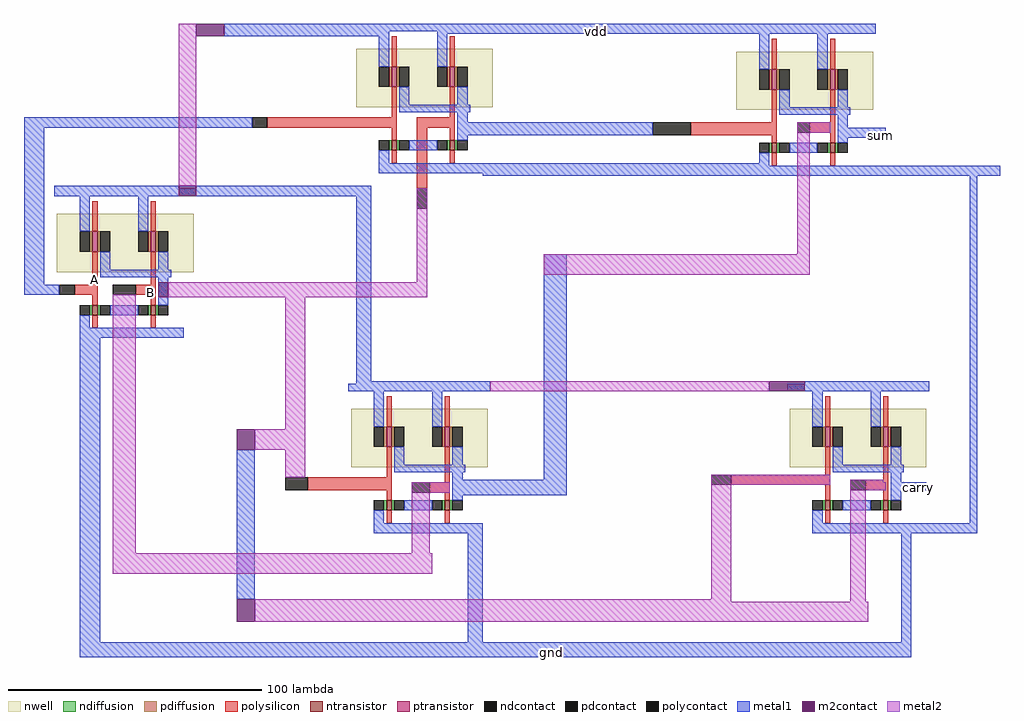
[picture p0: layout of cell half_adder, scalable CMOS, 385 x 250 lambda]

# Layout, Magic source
magic
tech scmos
<< polysilicon >>
rect 130 142 179 146
rect 189 142 203 146
rect 189 118 193 142
rect 297 139 329 144
rect 344 140 352 144
rect 54 76 63 80
rect 78 76 86 80
rect 146 -1 178 4
rect 194 -2 202 2
rect 313 1 352 5
rect 366 -1 373 3
<< metal1 >>
rect 113 180 164 183
rect 220 182 370 183
rect 220 180 314 182
rect 113 178 175 180
rect 200 179 314 180
rect 34 142 124 146
rect 34 80 42 142
rect 209 139 282 144
rect 357 138 374 142
rect 215 123 325 128
rect 364 123 419 127
rect 46 118 95 119
rect 102 115 171 119
rect 34 76 48 80
rect 56 -61 64 59
rect 165 42 171 115
rect 165 41 218 42
rect 165 40 171 41
rect 118 -44 125 15
rect 239 3 248 92
rect 342 41 391 42
rect 207 -3 248 3
rect 378 1 390 2
rect 379 0 390 1
rect 380 -1 390 0
rect 407 -14 410 123
rect 209 -61 215 -14
rect 380 -61 384 -15
rect 386 -18 410 -14
rect 56 -67 384 -61
<< metal2 >>
rect 95 119 102 183
rect 339 140 352 144
rect 189 81 193 118
rect 339 92 344 140
rect 239 84 344 92
rect 69 -26 78 76
rect 91 75 193 81
rect 137 23 145 75
rect 218 38 328 42
rect 125 15 145 23
rect 137 4 145 15
rect 187 -2 202 2
rect 305 1 352 5
rect 360 2 373 3
rect 187 -26 194 -2
rect 69 -34 195 -26
rect 305 -44 313 1
rect 125 -45 313 -44
rect 360 -1 374 2
rect 360 -45 366 -1
rect 125 -53 367 -45
<< polycontact >>
rect 124 142 130 146
rect 282 139 297 144
rect 339 140 344 144
rect 189 110 193 118
rect 48 76 54 80
rect 69 76 78 80
rect 137 -1 146 4
rect 187 -2 194 2
rect 305 1 313 5
rect 360 -1 366 3
<< m2contact >>
rect 102 178 113 183
rect 95 115 102 119
rect 87 75 91 81
rect 118 15 125 23
rect 328 38 342 42
rect 118 -53 125 -44
use nand  nand_1
transform 1 0 111 0 1 79
box 53 45 109 104
use nand  nand_3
transform 1 0 261 0 1 78
box 53 45 109 104
use nand  nand_0
transform 1 0 -7 0 1 14
box 53 45 109 104
use nand  nand_2
transform 1 0 109 0 1 -63
box 53 45 109 104
use nand  nand_4
transform 1 0 282 0 1 -63
box 53 45 109 104
<< labels >>
rlabel metal1 372 139 372 139 1 sum
rlabel metal1 242 -65 242 -65 1 gnd
rlabel metal1 387 0 387 0 1 carry
rlabel metal1 260 180 260 180 5 vdd
rlabel space 62 82 62 82 1 A
rlabel polysilicon 84 77 84 77 1 B
<< end >>

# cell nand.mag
magic
tech scmos
<< nwell >>
rect 54 71 108 94
<< polysilicon >>
rect 68 87 70 99
rect 91 87 93 99
rect 68 58 70 79
rect 91 58 93 79
rect 68 49 70 54
rect 91 49 93 54
<< ndiffusion >>
rect 67 54 68 58
rect 70 54 71 58
rect 90 54 91 58
rect 93 54 94 58
<< pdiffusion >>
rect 67 79 68 87
rect 70 79 71 87
rect 90 79 91 87
rect 93 79 94 87
<< metal1 >>
rect 53 101 109 104
rect 63 87 67 101
rect 86 87 90 101
rect 71 72 75 79
rect 94 72 98 79
rect 71 69 99 72
rect 94 58 98 69
rect 75 54 86 58
rect 63 49 67 54
rect 63 45 104 49
<< ntransistor >>
rect 68 54 70 58
rect 91 54 93 58
<< ptransistor >>
rect 68 79 70 87
rect 91 79 93 87
<< ndcontact >>
rect 63 54 67 58
rect 71 54 75 58
rect 86 54 90 58
rect 94 54 98 58
<< pdcontact >>
rect 63 79 67 87
rect 71 79 75 87
rect 86 79 90 87
rect 94 79 98 87
<< end >>
